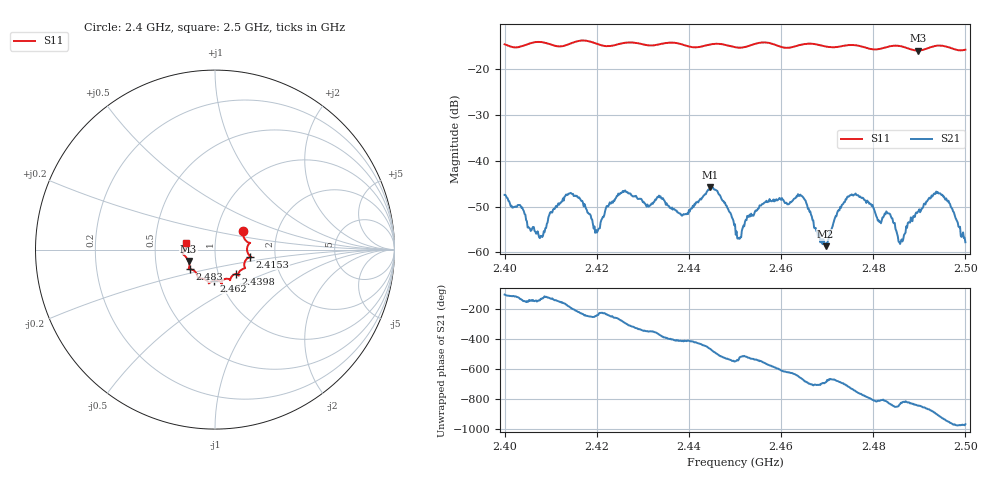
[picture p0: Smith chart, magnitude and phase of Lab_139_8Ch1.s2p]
# Hz S RI R 50
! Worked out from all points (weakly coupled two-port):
!   601 points, 2.4 GHz to 2.5 GHz, reference 50 ohm
!   highest |S21| = -45.72 dB at 2.4447 GHz (marker M1); lowest = -58.7 dB at 2.4697 GHz (marker M2)
!   lowest |S11| = -15.9 dB at 2.4897 GHz (marker M3), VSWR 1.38, Z = 36.9 - j4.83 ohm
!   |S11| at or under -10 dB: start of sweep to end of sweep
!   S12 and S22 are empty: the file has one direction only
!   S11 on the Smith chart (normalised r, x): 2.4 GHz: 1.33, +0.29; 2.4153 GHz: 1.48, -0.12; 2.4398 GHz: 1.21, -0.34; 2.462 GHz: 0.93, -0.33; 2.483 GHz: 0.74, -0.17; 2.5 GHz: 0.72, +0.06
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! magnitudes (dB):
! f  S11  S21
! 2.4 GHz  -14.5  -47.5
! 2.4078 GHz  -14.0  -56.4
! 2.4153 GHz  -14.0  -47.6
! 2.4167 GHz  -13.7  -48.8
! 2.4202 GHz  -14.5  -55.4
! 2.4252 GHz  -14.4  -47.0
! 2.4333 GHz  -14.6  -48.0
! 2.4398 GHz  -15.0  -51.6
! 2.4447 GHz  -14.5  -45.7
! 2.45 GHz  -15.1  -53.9
! 2.457 GHz  -14.1  -49.1
! 2.462 GHz  -15.2  -49.0
! 2.4645 GHz  -14.6  -47.7
! 2.4667 GHz  -14.4  -52.2
! 2.4697 GHz  -15.0  -58.7
! 2.4748 GHz  -14.7  -47.7
! 2.483 GHz  -15.1  -51.3
! 2.4833 GHz  -15.0  -51.5
! 2.486 GHz  -14.9  -57.6
! 2.4897 GHz  -15.9  -51.2
! 2.4945 GHz  -14.8  -47.1
! 2.5 GHz  -15.7  -57.8
